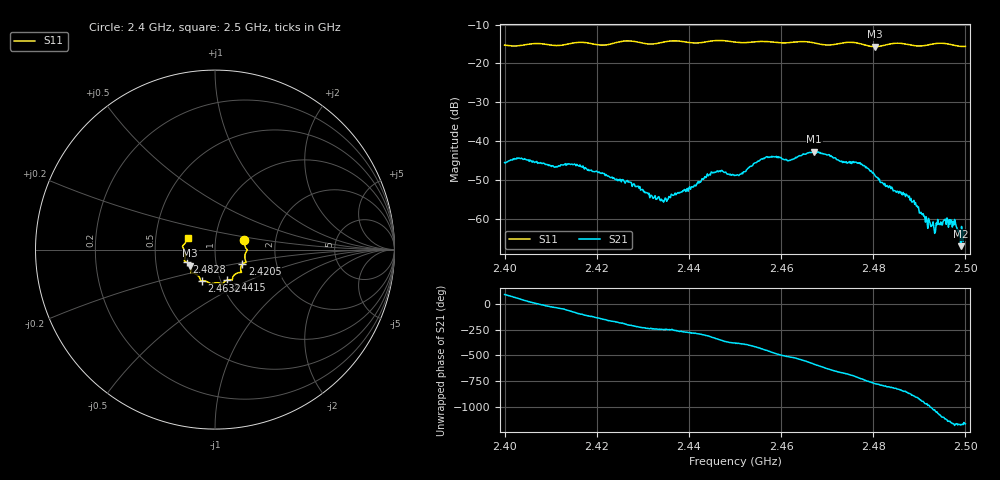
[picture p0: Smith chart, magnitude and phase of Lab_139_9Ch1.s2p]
# Hz S RI R 50
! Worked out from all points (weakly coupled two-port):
!   601 points, 2.4 GHz to 2.5 GHz, reference 50 ohm
!   highest |S21| = -42.73 dB at 2.4672 GHz (marker M1); lowest = -67.1 dB at 2.499 GHz (marker M2)
!   lowest |S11| = -15.7 dB at 2.4803 GHz (marker M3), VSWR 1.39, Z = 37.4 - j6.83 ohm
!   |S11| at or under -10 dB: start of sweep to end of sweep
!   S12 and S22 are empty: the file has one direction only
!   S11 on the Smith chart (normalised r, x): 2.4 GHz: 1.38, +0.15; 2.4205 GHz: 1.34, -0.22; 2.4415 GHz: 1.07, -0.38; 2.4632 GHz: 0.82, -0.29; 2.4828 GHz: 0.72, -0.10; 2.5 GHz: 0.73, +0.10
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2.4e9  0.1638 0.0519  -0.000273 0.00527  0 0  0 0
2.403167e9  0.1681 0.017  0.00379 0.0047  0 0  0 0
2.416667e9  0.1731 -0.0701  -0.000701 -0.00466  0 0  0 0
2.4205e9  0.152 -0.0816  -0.00297 -0.00267  0 0  0 0
2.433333e9  0.1004 -0.1516  -0.000738 0.00176  0 0  0 0
2.435e9  0.0973 -0.1639  -0.000762 0.00166  0 0  0 0
2.4415e9  0.0656 -0.1706  0.000701 0.00254  0 0  0 0
2.445333e9  0.0425 -0.1908  0.00335 0.00208  0 0  0 0
2.45e9  0.0241 -0.1863  0.00344 -0.0012  0 0  0 0
2.456667e9  -0.0246 -0.1899  -3.58e-05 -0.00618  0 0  0 0
2.463167e9  -0.0731 -0.1738  -0.00602 -0.00135  0 0  0 0
2.466667e9  -0.082 -0.167  -0.00567 0.00438  0 0  0 0
2.467167e9  -0.0831 -0.1638  -0.00502 0.00531  0 0  0 0
2.476667e9  -0.1327 -0.1248  0.00516 0.000363  0 0  0 0
2.480333e9  -0.1378 -0.089  0.00208 -0.003  0 0  0 0
2.482833e9  -0.1587 -0.0698  0.000275 -0.00259  0 0  0 0
2.483333e9  -0.1625 -0.0679  0.000136 -0.00251  0 0  0 0
2.487667e9  -0.1675 -0.0501  -0.00167 -0.000871  0 0  0 0
2.493e9  -0.1778 0.00966  0.000584 0.000698  0 0  0 0
2.497333e9  -0.1689 0.0327  7.8e-05 -0.000921  0 0  0 0
2.499e9  -0.1576 0.0507  -8.51e-05 -0.000435  0 0  0 0
2.5e9  -0.1525 0.0645  1.23e-05 -0.000694  0 0  0 0
